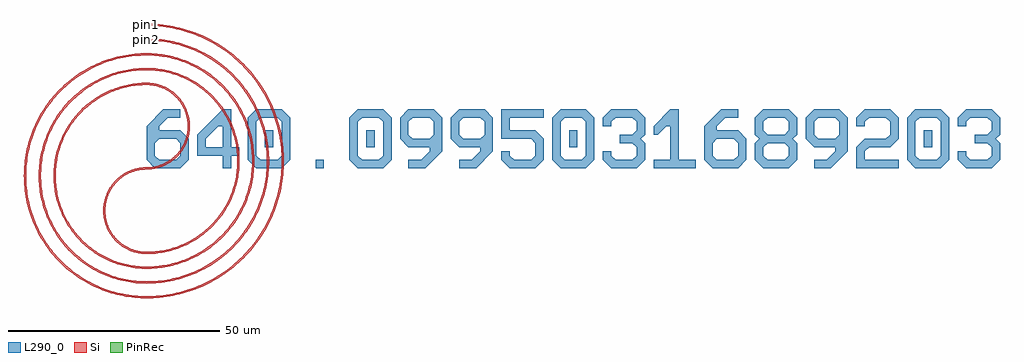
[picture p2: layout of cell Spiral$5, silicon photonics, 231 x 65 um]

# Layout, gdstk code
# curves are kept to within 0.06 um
import gdstk
lib = gdstk.Library(unit=1e-6, precision=1e-09)
def R(c, l, rs):  # rectangles x0, y0, x1, y1
    for r in rs: c.add(gdstk.rectangle(r[:2], r[2:], *l))
def P(c, l, *ps):  # polygons
    for p in ps: c.add(gdstk.Polygon(p, *l))
Si = (1, 0)
PinRec = (1, 10)
L290_0 = (290, 0)

spiral_5 = lib.new_cell('Spiral$5')
P(spiral_5, Si, [(0,-0.25),(0,0.25),(1.194,0.323),(2.369,0.542),(3.509,0.903),(4.384,1.291),(5.808,2.169),(7.061,3.277),(8.237,4.784),(9.097,6.491),(9.563,8.098),(9.75,10),(9.563,11.902),(9.097,13.509),(8.237,15.216),(7.061,16.723),(5.808,17.831),(4.384,18.709),(3.509,19.097),(2.369,19.458),(1.194,19.677),(0,19.75),(0,20.25),(1.005,20.201),(2,20.053),(2.975,19.809),(3.923,19.47),(5.695,18.523),(7.248,17.248),(8.523,15.695),(9.47,13.923),(9.809,12.975),(10.053,12),(10.201,11.005),(10.25,10),(10.201,8.995),(10.053,8),(9.809,7.025),(9.47,6.077),(8.523,4.305),(7.248,2.752),(5.695,1.477),(3.923,0.53),(2.975,0.191),(2,-0.053),(1.005,-0.201)],
  [(0,-20.25),(-1.005,-20.201),(-2,-20.053),(-3.923,-19.47),(-5.695,-18.523),(-7.248,-17.248),(-8.523,-15.695),(-9.47,-13.923),(-10.053,-12),(-10.201,-11.005),(-10.25,-10),(-10.201,-8.995),(-10.001,-7.754),(-9.371,-5.846),(-8.792,-4.73),(-8.233,-3.894),(-7.424,-2.932),(-6.695,-2.239),(-5.052,-1.082),(-4.154,-0.629),(-3.215,-0.267),(-1.504,0.139),(0.956,0.297),(2.136,0.487),(3.509,0.903),(4.806,1.517),(6.185,2.463),(7.537,3.815),(8.599,5.404),(9.258,6.942),(9.563,8.098),(9.724,9.283),(9.747,10.239),(9.644,11.431),(9.458,12.369),(9.097,13.509),(8.599,14.596),(7.971,15.614),(7.224,16.548),(6.548,17.224),(5.013,18.363),(3.951,18.914),(2.6,19.397),(1.194,19.677),(0,19.75),(0,20.25),(1.005,20.201),(2,20.053),(3.923,19.47),(5.695,18.523),(7.248,17.248),(8.523,15.695),(9.47,13.923),(10.053,12),(10.201,11.005),(10.25,10),(10.201,8.995),(10.001,7.754),(9.371,5.846),(8.792,4.73),(8.233,3.894),(7.424,2.932),(6.695,2.239),(5.052,1.082),(4.154,0.629),(3.215,0.267),(1.504,-0.139),(-0.956,-0.297),(-2.136,-0.487),(-3.509,-0.903),(-4.806,-1.517),(-6.185,-2.463),(-7.537,-3.815),(-8.599,-5.404),(-9.258,-6.942),(-9.563,-8.098),(-9.724,-9.283),(-9.747,-10.239),(-9.644,-11.431),(-9.458,-12.369),(-9.097,-13.509),(-8.599,-14.596),(-7.971,-15.614),(-7.224,-16.548),(-6.548,-17.224),(-5.013,-18.363),(-3.951,-18.914),(-2.6,-19.397),(-1.194,-19.677),(0,-19.75)],
  [(0,-20.25),(0,-19.75),(2.632,-19.588),(4.711,-19.228),(6.744,-18.665),(8.713,-17.906),(10.597,-16.957),(11.945,-16.127),(13.639,-14.87),(15.203,-13.453),(16.62,-11.889),(17.877,-10.195),(18.961,-8.385),(19.863,-6.478),(20.574,-4.491),(21.087,-2.444),(21.396,-0.357),(21.5,1.75),(21.396,3.857),(21.087,5.944),(20.574,7.991),(19.863,9.978),(18.961,11.885),(17.877,13.695),(16.62,15.389),(15.203,16.953),(13.639,18.37),(11.945,19.627),(10.597,20.457),(8.713,21.406),(6.744,22.165),(4.711,22.728),(2.632,23.088),(0,23.25),(0,23.75),(2.156,23.644),(4.292,23.327),(6.386,22.803),(8.419,22.075),(10.371,21.152),(12.223,20.042),(13.957,18.756),(15.556,17.306),(17.006,15.707),(18.292,13.973),(19.402,12.121),(20.325,10.169),(21.053,8.136),(21.577,6.042),(21.894,3.906),(22,1.75),(21.894,-0.406),(21.577,-2.542),(21.053,-4.636),(20.325,-6.669),(19.402,-8.621),(18.292,-10.473),(17.006,-12.207),(15.556,-13.806),(13.957,-15.256),(12.223,-16.542),(10.371,-17.652),(8.419,-18.575),(6.386,-19.303),(4.292,-19.827),(2.156,-20.144)],
  [(0,-23.75),(-2.156,-23.644),(-4.292,-23.327),(-6.386,-22.803),(-8.419,-22.075),(-10.371,-21.152),(-12.223,-20.042),(-13.957,-18.756),(-15.556,-17.306),(-17.006,-15.707),(-18.292,-13.973),(-19.402,-12.121),(-20.325,-10.169),(-21.053,-8.136),(-21.577,-6.042),(-21.894,-3.906),(-22,-1.75),(-21.894,0.406),(-21.577,2.542),(-21.053,4.636),(-20.325,6.669),(-19.402,8.621),(-18.292,10.473),(-17.006,12.207),(-15.556,13.806),(-13.957,15.256),(-12.223,16.542),(-10.371,17.652),(-8.419,18.575),(-6.386,19.303),(-4.292,19.827),(-2.156,20.144),(0,20.25),(0,19.75),(-2.632,19.588),(-4.711,19.228),(-6.744,18.665),(-8.713,17.906),(-10.597,16.957),(-11.945,16.127),(-13.639,14.87),(-15.203,13.453),(-16.62,11.889),(-17.877,10.195),(-18.961,8.385),(-19.863,6.478),(-20.574,4.491),(-21.087,2.444),(-21.396,0.357),(-21.5,-1.75),(-21.396,-3.857),(-21.087,-5.944),(-20.574,-7.991),(-19.863,-9.978),(-18.961,-11.885),(-17.877,-13.695),(-16.62,-15.389),(-15.203,-16.953),(-13.639,-18.37),(-11.945,-19.627),(-10.597,-20.457),(-8.713,-21.406),(-6.744,-22.165),(-4.711,-22.728),(-2.632,-23.088),(0,-23.25)],
  [(0,-23.75),(0,-23.25),(2.45,-23.13),(5.478,-22.643),(7.842,-21.988),(10.131,-21.105),(12.322,-20.002),(14.395,-18.69),(15.86,-17.575),(17.678,-15.928),(19.325,-14.11),(20.787,-12.139),(22.048,-10.035),(23.097,-7.817),(23.924,-5.507),(24.52,-3.127),(24.88,-0.7),(25,1.75),(24.88,4.2),(24.52,6.627),(23.924,9.007),(23.097,11.317),(22.048,13.535),(20.787,15.639),(19.325,17.61),(17.678,19.428),(15.86,21.075),(14.395,22.19),(12.322,23.502),(10.131,24.605),(7.842,25.488),(5.478,26.143),(2.45,26.63),(0,26.75),(0,27.25),(2.499,27.127),(4.975,26.76),(7.402,26.152),(9.758,25.309),(12.021,24.239),(14.167,22.952),(16.177,21.462),(18.031,19.781),(19.712,17.927),(21.202,15.917),(22.489,13.771),(23.559,11.508),(24.402,9.152),(25.01,6.725),(25.377,4.249),(25.5,1.75),(25.377,-0.749),(25.01,-3.225),(24.402,-5.652),(23.559,-8.008),(22.489,-10.271),(21.202,-12.417),(19.712,-14.427),(18.031,-16.281),(16.177,-17.962),(14.167,-19.452),(12.021,-20.739),(9.758,-21.809),(7.402,-22.652),(4.975,-23.26),(2.499,-23.627)],
  [(0,-27.25),(-2.499,-27.127),(-4.975,-26.76),(-7.402,-26.152),(-9.758,-25.309),(-12.021,-24.239),(-14.167,-22.952),(-16.177,-21.462),(-18.031,-19.781),(-19.712,-17.927),(-21.202,-15.917),(-22.489,-13.771),(-23.559,-11.508),(-24.402,-9.152),(-25.01,-6.725),(-25.377,-4.249),(-25.5,-1.75),(-25.377,0.749),(-25.01,3.225),(-24.402,5.652),(-23.559,8.008),(-22.489,10.271),(-21.202,12.417),(-19.712,14.427),(-18.031,16.281),(-16.177,17.962),(-14.167,19.452),(-12.021,20.739),(-9.758,21.809),(-7.402,22.652),(-4.975,23.26),(-2.499,23.627),(0,23.75),(0,23.25),(-2.45,23.13),(-5.478,22.643),(-7.842,21.988),(-10.131,21.105),(-12.322,20.002),(-14.395,18.69),(-15.86,17.575),(-17.678,15.928),(-19.325,14.11),(-20.787,12.139),(-22.048,10.035),(-23.097,7.817),(-23.924,5.507),(-24.52,3.127),(-24.88,0.7),(-25,-1.75),(-24.88,-4.2),(-24.52,-6.627),(-23.924,-9.007),(-23.097,-11.317),(-22.048,-13.535),(-20.787,-15.639),(-19.325,-17.61),(-17.678,-19.428),(-15.86,-21.075),(-14.395,-22.19),(-12.322,-23.502),(-10.131,-24.605),(-7.842,-25.488),(-5.478,-26.143),(-2.45,-26.63),(0,-26.75)],
  [(0,-27.25),(0,-26.75),(1.398,-26.716),(3.489,-26.536),(6.244,-26.058),(8.94,-25.312),(11.549,-24.305),(13.435,-23.385),(15.834,-21.947),(18.08,-20.281),(20.153,-18.403),(22.031,-16.33),(23.697,-14.084),(25.135,-11.685),(26.331,-9.156),(27.273,-6.523),(27.952,-3.81),(28.363,-1.043),(28.5,1.75),(28.363,4.543),(27.952,7.31),(27.273,10.023),(26.331,12.656),(25.135,15.185),(23.697,17.584),(22.031,19.83),(20.153,21.903),(18.08,23.781),(15.834,25.447),(13.435,26.885),(11.549,27.805),(8.94,28.812),(6.244,29.558),(3.489,30.036),(1.398,30.216),(0,30.25),(0,30.75),(2.842,30.61),(5.658,30.193),(8.418,29.501),(11.098,28.543),(13.671,27.326),(16.112,25.863),(18.397,24.167),(20.506,22.256),(22.417,20.147),(24.113,17.862),(25.576,15.421),(26.793,12.848),(27.751,10.168),(28.443,7.408),(28.86,4.592),(29,1.75),(28.86,-1.092),(28.443,-3.908),(27.751,-6.668),(26.793,-9.348),(25.576,-11.921),(24.113,-14.362),(22.417,-16.647),(20.506,-18.756),(18.397,-20.667),(16.112,-22.363),(13.671,-23.826),(11.098,-25.043),(8.418,-26.001),(5.658,-26.693),(2.842,-27.11)],
  [(0,-30.75),(-2.842,-30.61),(-5.658,-30.193),(-8.418,-29.501),(-11.098,-28.543),(-13.671,-27.326),(-16.112,-25.863),(-18.397,-24.167),(-20.506,-22.256),(-22.417,-20.147),(-24.113,-17.862),(-25.576,-15.421),(-26.793,-12.848),(-27.751,-10.168),(-28.443,-7.408),(-28.86,-4.592),(-29,-1.75),(-28.86,1.092),(-28.443,3.908),(-27.751,6.668),(-26.793,9.348),(-25.576,11.921),(-24.113,14.362),(-22.417,16.647),(-20.506,18.756),(-18.397,20.667),(-16.112,22.363),(-13.671,23.826),(-11.098,25.043),(-8.418,26.001),(-5.658,26.693),(-2.842,27.11),(0,27.25),(0,26.75),(-1.398,26.716),(-3.489,26.536),(-6.244,26.058),(-8.94,25.312),(-11.549,24.305),(-13.435,23.385),(-15.834,21.947),(-18.08,20.281),(-20.153,18.403),(-22.031,16.33),(-23.697,14.084),(-25.135,11.685),(-26.331,9.156),(-27.273,6.523),(-27.952,3.81),(-28.363,1.043),(-28.5,-1.75),(-28.363,-4.543),(-27.952,-7.31),(-27.273,-10.023),(-26.331,-12.656),(-25.135,-15.185),(-23.697,-17.584),(-22.031,-19.83),(-20.153,-21.903),(-18.08,-23.781),(-15.834,-25.447),(-13.435,-26.885),(-11.549,-27.805),(-8.94,-28.812),(-6.244,-29.558),(-3.489,-30.036),(-1.398,-30.216),(0,-30.25)],
  [(0,-30.75),(0,-30.25),(3.137,-30.096),(6.243,-29.635),(8.535,-29.091),(10.038,-28.635),(12.968,-27.505),(15.773,-26.093),(18.426,-24.413),(20.902,-22.481),(22.627,-20.877),(24.736,-18.551),(26.607,-16.028),(28.221,-13.335),(29.564,-10.496),(30.622,-7.539),(31.385,-4.493),(31.846,-1.387),(32,1.75),(31.846,4.887),(31.385,7.993),(30.622,11.039),(29.564,13.996),(28.221,16.835),(26.607,19.528),(24.736,22.051),(22.627,24.377),(20.902,25.981),(18.426,27.913),(15.773,29.593),(12.968,31.005),(10.038,32.135),(8.535,32.591),(6.243,33.135),(3.137,33.596),(0,33.75),(0,34.25),(3.186,34.094),(6.34,33.626),(9.434,32.851),(12.437,31.776),(15.32,30.412),(18.056,28.773),(20.618,26.873),(22.981,24.731),(25.123,22.368),(27.023,19.806),(28.662,17.07),(30.026,14.187),(31.101,11.184),(31.876,8.09),(32.344,4.936),(32.5,1.75),(32.344,-1.436),(31.876,-4.59),(31.101,-7.684),(30.026,-10.687),(28.662,-13.57),(27.023,-16.306),(25.123,-18.868),(22.981,-21.231),(20.618,-23.373),(18.056,-25.273),(15.32,-26.912),(12.437,-28.276),(9.434,-29.351),(6.34,-30.126),(3.186,-30.594)])
R(spiral_5, L290_0, [(40,0,42,2), (28,5,30,9), (52,5,54,9), (100,5,102,9), (184,5,186,9)])
P(spiral_5, L290_0, [(2,0),(0,2),(0,10),(4,14),(8,14),(8,12),(5,12),(3,10),(3,9),(8,9),(10,7),(3,7),(2,6),(2,3),(3,2),(7,2),(8,3),(8,6),(7,7),(10,7),(10,2),(8,0)],
  [(18,0),(18,3),(12,3),(12,5),(18,5),(18,10),(17,10),(14,7),(14,5),(12,5),(12,8),(18,14),(20,14),(20,5),(22,5),(22,3),(20,3),(20,0)],
  [(26,0),(24,2),(24,12),(26,14),(32,14),(34,12),(27,12),(26,11),(26,3),(27,2),(31,2),(32,3),(32,11),(31,12),(34,12),(34,2),(32,0)],
  [(50,0),(48,2),(48,12),(50,14),(56,14),(58,12),(51,12),(50,11),(50,3),(51,2),(55,2),(56,3),(56,11),(55,12),(58,12),(58,2),(56,0)],
  [(62,0),(62,2),(65,2),(67,4),(67,5),(62,5),(60,7),(67,7),(68,8),(68,11),(67,12),(63,12),(62,11),(62,8),(63,7),(60,7),(60,12),(62,14),(68,14),(70,12),(70,4),(66,0)],
  [(74,0),(74,2),(77,2),(79,4),(79,5),(74,5),(72,7),(79,7),(80,8),(80,11),(79,12),(75,12),(74,11),(74,8),(75,7),(72,7),(72,12),(74,14),(80,14),(82,12),(82,4),(78,0)],
  [(86,0),(84,2),(84,4),(86,4),(86,3),(87,2),(91,2),(92,3),(92,6),(91,7),(84,7),(84,14),(94,14),(94,12),(86,12),(86,9),(92,9),(94,7),(94,2),(92,0)],
  [(98,0),(96,2),(96,12),(98,14),(104,14),(106,12),(99,12),(98,11),(98,3),(99,2),(103,2),(104,3),(104,11),(103,12),(106,12),(106,2),(104,0)],
  [(110,0),(108,2),(108,4),(110,4),(110,3),(111,2),(115,2),(116,3),(116,5),(115,6),(112,6),(112,8),(115,8),(116,9),(116,11),(115,12),(111,12),(110,11),(110,10),(108,10),(108,12),(110,14),(116,14),(118,12),(118,8),(117,7),(118,6),(118,2),(116,0)],
  [(120,0),(120,2),(124,2),(124,10),(123,10),(121,8),(120,8),(120,10),(124,14),(126,14),(126,2),(130,2),(130,0)],
  [(134,0),(132,2),(132,10),(136,14),(140,14),(140,12),(137,12),(135,10),(135,9),(140,9),(142,7),(135,7),(134,6),(134,3),(135,2),(139,2),(140,3),(140,6),(139,7),(142,7),(142,2),(140,0)],
  [(146,0),(144,2),(144,6),(145,7),(144,8),(144,12),(146,14),(152,14),(154,12),(147,12),(146,11),(146,9),(147,8),(151,8),(152,9),(152,11),(151,12),(154,12),(154,8),(153,7),(154,6),(147,6),(146,5),(146,3),(147,2),(151,2),(152,3),(152,5),(151,6),(154,6),(154,2),(152,0)],
  [(158,0),(158,2),(161,2),(163,4),(163,5),(158,5),(156,7),(163,7),(164,8),(164,11),(163,12),(159,12),(158,11),(158,8),(159,7),(156,7),(156,12),(158,14),(164,14),(166,12),(166,4),(162,0)],
  [(168,0),(168,5),(170,7),(175,7),(176,8),(176,11),(175,12),(171,12),(170,11),(170,10),(168,10),(168,12),(170,14),(176,14),(178,12),(178,7),(176,5),(171,5),(170,4),(170,2),(178,2),(178,0)],
  [(182,0),(180,2),(180,12),(182,14),(188,14),(190,12),(183,12),(182,11),(182,3),(183,2),(187,2),(188,3),(188,11),(187,12),(190,12),(190,2),(188,0)],
  [(194,0),(192,2),(192,4),(194,4),(194,3),(195,2),(199,2),(200,3),(200,5),(199,6),(196,6),(196,8),(199,8),(200,9),(200,11),(199,12),(195,12),(194,11),(194,10),(192,10),(192,12),(194,14),(200,14),(202,12),(202,8),(201,7),(202,6),(202,2),(200,0)])
spiral_5.add(gdstk.FlexPath([(0.05,34),(-0.05,34)], 0.5, ends="flush", simple_path=True, layer=1, datatype=10))  # PinRec
spiral_5.add(gdstk.FlexPath([(0.05,30.5),(-0.05,30.5)], 0.5, ends="flush", simple_path=True, layer=1, datatype=10))  # PinRec
spiral_5.add(gdstk.Label('pin1', (0,34), layer=1, texttype=10))
spiral_5.add(gdstk.Label('pin2', (0,30.5), layer=1, texttype=10))

lib.write_gds('Spiral_5.gds')
